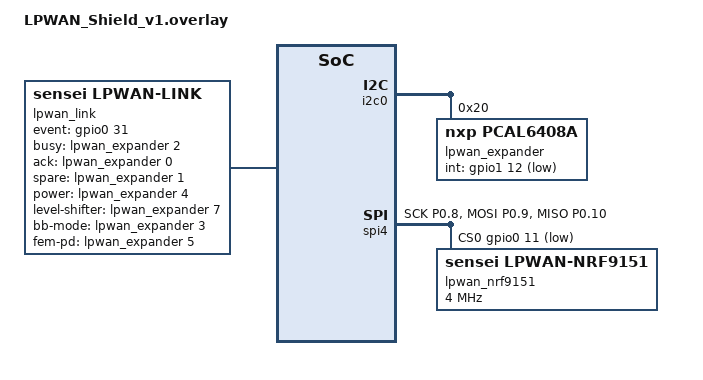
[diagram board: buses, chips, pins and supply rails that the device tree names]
// Copyright (c) 2026 ETH Zurich and University of Bologna
// SPDX-License-Identifier: Apache-2.0

/*
 * SENSEI LPWAN shield, nRF5340 side (base board nrf5340_senseiv1).
 *
 * Connections (shield J1/J2 to the base board, see firmware/nrf9151/HARDWARE.md):
 * - SPI_A (P0.08 SCK, P0.09 MOSI, P0.10 MISO, P0.11 CS) to the nRF9151 SPI slave. These pins are
 *   SPIM4 pins and are shared with GAP9 (SPIS3) behind a TMUX1112 switch controlled by SPI_GAP_SEL
 *   (P0.20). Only one of the two may own the bus at a time.
 * - I2C_A (P1.02 SCL, P1.03 SDA) to the shield I/O expander TCAL6408 (address 0x20).
 * - Expander interrupt on P1.12 (the base board net MSP_CS).
 * - Event line from the nRF9151 on P0.31.
 * - nRF21540 TX_EN on P0.27 and RX_EN on P1.13 (not used by the firmware yet). Its power-down nPD and MODE are on the
 *   expander (P5, P6): the client holds both low while the extender is not in use (the default).
 * - Without a shield the expander does not answer: its driver stays down and the client never starts (the node uses
 *   BLE for its uplinks).
 */

&pinctrl {
	spi4_lpwan_default: spi4_lpwan_default {
		group1 {
			psels = <NRF_PSEL(SPIM_SCK, 0, 8)>,
				<NRF_PSEL(SPIM_MOSI, 0, 9)>,
				<NRF_PSEL(SPIM_MISO, 0, 10)>;
		};
	};

	spi4_lpwan_sleep: spi4_lpwan_sleep {
		group1 {
			psels = <NRF_PSEL(SPIM_SCK, 0, 8)>,
				<NRF_PSEL(SPIM_MOSI, 0, 9)>,
				<NRF_PSEL(SPIM_MISO, 0, 10)>;
			low-power-enable;
		};
	};
};

&i2c0 {
	status = "okay";

	/* TCAL6408 (pin compatible with the PCAL6408A driver), ADDR tied to GND. */
	lpwan_expander: tcal6408@20 {
		compatible = "nxp,pcal6408a";
		reg = <0x20>;
		gpio-controller;
		#gpio-cells = <2>;
		ngpios = <8>;
		int-gpios = <&gpio1 12 (GPIO_ACTIVE_LOW | GPIO_PULL_UP)>;
	};
};

&spi4 {
	status = "okay";
	pinctrl-0 = <&spi4_lpwan_default>;
	pinctrl-1 = <&spi4_lpwan_sleep>;
	pinctrl-names = "default", "sleep";
	/* The client drives the chip select itself (P0.11) so it can release it with the bus. */
	cs-gpios = <&gpio0 11 GPIO_ACTIVE_LOW>;

	lpwan_nrf9151: lpwan-nrf9151@0 {
		compatible = "sensei,lpwan-nrf9151";
		reg = <0>;
		spi-max-frequency = <DT_FREQ_M(4)>;
	};
};

/ {
	lpwan_link: lpwan_link {
		compatible = "sensei,lpwan-link";
		/* nRF9151 P0.15 through the level shifter (shield J1.2). */
		event-gpios = <&gpio0 31 GPIO_ACTIVE_HIGH>;
		/* Expander P2 (read over I2C). */
		busy-gpios = <&lpwan_expander 2 GPIO_ACTIVE_HIGH>;
		/* Expander P0 (output). */
		ack-gpios = <&lpwan_expander 0 GPIO_ACTIVE_HIGH>;
		/* Expander P1 (output). */
		spare-gpios = <&lpwan_expander 1 GPIO_ACTIVE_HIGH>;
		/* Expander P4: shield 3.3 V load switch. A 1 M pull-up keeps it on until driven low. */
		power-gpios = <&lpwan_expander 4 GPIO_ACTIVE_HIGH>;
		/* Expander P7: output enable of the TXB0108 level shifter (low = off). */
		level-shifter-gpios = <&lpwan_expander 7 GPIO_ACTIVE_HIGH>;
		/* Expander P3: buck-boost mode (high = forced PWM, low = power save). */
		bb-mode-gpios = <&lpwan_expander 3 GPIO_ACTIVE_HIGH>;
		/* Expander P5: nRF21540 range extender power-down nPD (low = off). The client drives it low at every
		 * bring-up and power-off unless CONFIG_SENSEI_LPWAN_FEM is set, so the unused extender is off. */
		fem-pd-gpios = <&lpwan_expander 5 GPIO_ACTIVE_HIGH>;
		/* Expander P6: nRF21540 MODE. Driven low with the extender off, so the line never floats. */
		fem-mode-gpios = <&lpwan_expander 6 GPIO_ACTIVE_HIGH>;
		/* GAP9 isolation switch (TMUX1112) on SPI_A. */
		spi-gap-sel-gpios = <&gpio0 20 GPIO_ACTIVE_HIGH>;
	};

	aliases {
		lpwan-link = &lpwan_link;
		lpwan-spi = &lpwan_nrf9151;
	};
};
